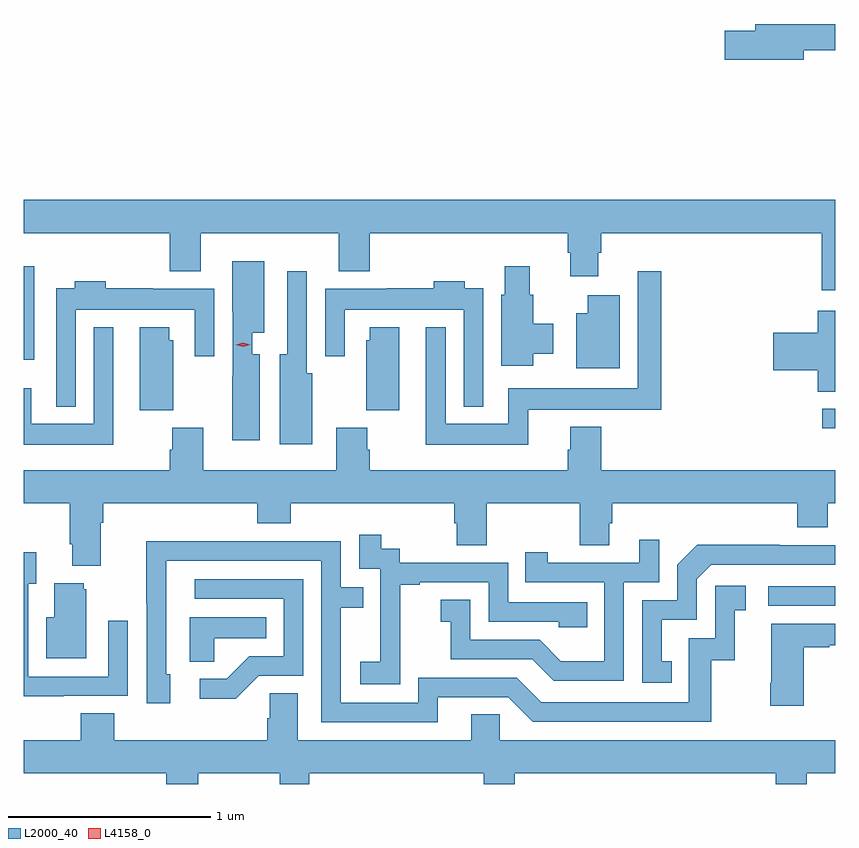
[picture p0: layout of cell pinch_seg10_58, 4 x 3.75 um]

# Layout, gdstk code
import gdstk
lib = gdstk.Library(unit=1e-6, precision=1e-09)
def R(c, l, rs):  # rectangles x0, y0, x1, y1
    for r in rs: c.add(gdstk.rectangle(r[:2], r[2:], *l))
def P(c, l, *ps):  # polygons
    for p in ps: c.add(gdstk.Polygon(p, *l))
L2000_40 = (2000, 40)
L4158_0 = (4158, 0)

pinch_seg10_58 = lib.new_cell('pinch_seg10_58')
R(pinch_seg10_58, L2000_40, [(843.093,1299.81,843.424,1299.906), (843.36,1300.685,843.424,1300.782), (839.424,1301.024,839.476,1301.485)])
P(pinch_seg10_58, L2000_40, [(843.268,1302.55),(843.424,1302.55),(843.424,1302.679),(843.029,1302.679),(843.029,1302.645),(842.88,1302.645),(842.88,1302.503),(843.268,1302.503)],
  [(843.424,1301.812),(839.424,1301.812),(839.424,1301.648),(840.143,1301.648),(840.143,1301.459),(840.295,1301.459),(840.295,1301.648),(840.977,1301.648),(840.977,1301.459),(841.13,1301.459),(841.13,1301.648),(842.105,1301.648),(842.105,1301.55),(842.117,1301.55),(842.117,1301.436),(842.257,1301.436),(842.257,1301.55),(842.27,1301.55),(842.27,1301.648),(843.359,1301.648),(843.359,1301.367),(843.424,1301.367)],
  [(840.586,1301.05),(840.55,1301.05),(840.55,1301.156),(840.61,1301.156),(840.61,1301.509),(840.452,1301.509),(840.452,1301.26),(840.453,1301.26),(840.453,1300.946),(840.452,1300.946),(840.452,1300.626),(840.586,1300.626)],
  [(841.936,1301.054),(842.035,1301.054),(842.035,1301.202),(841.936,1301.202),(841.936,1301.343),(841.918,1301.343),(841.918,1301.485),(841.796,1301.485),(841.796,1301.343),(841.778,1301.343),(841.778,1300.995),(841.936,1300.995)],
  [(841.91,1300.778),(842.444,1300.778),(842.444,1300.776),(842.567,1300.776),(842.567,1301.461),(842.451,1301.461),(842.451,1300.882),(841.812,1300.882),(841.812,1300.708),(841.503,1300.708),(841.503,1301.185),(841.406,1301.185),(841.406,1300.604),(841.91,1300.604)],
  [(840.847,1300.956),(840.819,1300.956),(840.819,1301.461),(840.723,1301.461),(840.723,1301.05),(840.686,1301.05),(840.686,1300.608),(840.847,1300.608)],
  [(841.689,1301.377),(841.597,1301.377),(841.597,1301.41),(841.445,1301.41),(841.445,1301.377),(841.213,1301.377),(841.213,1301.374),(840.909,1301.374),(840.909,1301.04),(841.005,1301.04),(841.005,1301.27),(841.593,1301.27),(841.593,1300.793),(841.689,1300.793)],
  [(839.679,1301.27),(840.267,1301.27),(840.267,1301.04),(840.363,1301.04),(840.363,1301.374),(840.059,1301.374),(840.059,1301.377),(839.828,1301.377),(839.828,1301.41),(839.675,1301.41),(839.675,1301.377),(839.583,1301.377),(839.583,1300.793),(839.679,1300.793)],
  [(842.362,1301.341),(842.204,1301.341),(842.204,1301.254),(842.147,1301.254),(842.147,1300.982),(842.362,1300.982)],
  [(843.424,1301.266),(843.338,1301.266),(843.338,1301.156),(843.12,1301.156),(843.12,1300.973),(843.338,1300.973),(843.338,1300.867),(843.424,1300.867)],
  [(839.866,1301.185),(839.769,1301.185),(839.769,1300.708),(839.46,1300.708),(839.46,1300.882),(839.424,1300.882),(839.424,1300.604),(839.866,1300.604)],
  [(840.16,1301.121),(840.142,1301.121),(840.142,1301.185),(839.996,1301.185),(839.996,1300.774),(840.16,1300.774)],
  [(841.276,1301.185),(841.13,1301.185),(841.13,1301.121),(841.112,1301.121),(841.112,1300.774),(841.276,1300.774)],
  [(839.803,1300.22),(839.816,1300.22),(839.816,1300.316),(840.575,1300.316),(840.575,1300.217),(840.74,1300.217),(840.74,1300.316),(841.547,1300.316),(841.547,1300.218),(841.559,1300.218),(841.559,1300.108),(841.707,1300.108),(841.707,1300.316),(842.164,1300.316),(842.164,1300.108),(842.311,1300.108),(842.311,1300.218),(842.324,1300.218),(842.324,1300.316),(843.236,1300.316),(843.236,1300.199),(843.388,1300.199),(843.388,1300.316),(843.424,1300.316),(843.424,1300.48),(842.27,1300.48),(842.27,1300.693),(842.117,1300.693),(842.117,1300.581),(842.105,1300.581),(842.105,1300.48),(841.13,1300.48),(841.13,1300.58),(841.117,1300.58),(841.117,1300.689),(840.965,1300.689),(840.965,1300.48),(840.308,1300.48),(840.308,1300.689),(840.155,1300.689),(840.155,1300.58),(840.143,1300.58),(840.143,1300.48),(839.424,1300.48),(839.424,1300.316),(839.651,1300.316),(839.651,1300.114),(839.663,1300.114),(839.663,1300.007),(839.803,1300.007)],
  [(841.281,1299.631),(841.28,1299.631),(841.28,1299.915),(841.375,1299.915),(841.375,1299.927),(841.716,1299.927),(841.716,1299.732),(842.061,1299.732),(842.061,1299.705),(842.201,1299.705),(842.201,1299.828),(841.812,1299.828),(841.812,1300.023),(841.278,1300.023),(841.278,1300.092),(841.186,1300.092),(841.186,1300.162),(841.077,1300.162),(841.077,1299.993),(841.182,1299.993),(841.182,1299.764),(841.181,1299.764),(841.181,1299.535),(841.083,1299.535),(841.083,1299.425),(841.281,1299.425)],
  [(842.382,1299.927),(842.556,1299.927),(842.556,1300.135),(842.459,1300.135),(842.459,1300.023),(842.008,1300.023),(842.008,1300.075),(841.897,1300.075),(841.897,1299.927),(842.286,1299.927),(842.286,1299.538),(842.072,1299.538),(841.968,1299.642),(841.626,1299.642),(841.626,1299.841),(841.479,1299.841),(841.479,1299.731),(841.528,1299.731),(841.528,1299.546),(841.931,1299.546),(842.036,1299.441),(842.382,1299.441)],
  [(841.465,1299.36),(841.812,1299.36),(841.932,1299.24),(842.812,1299.24),(842.812,1299.543),(842.93,1299.543),(842.93,1299.789),(842.983,1299.789),(842.983,1299.91),(842.832,1299.91),(842.832,1299.651),(842.703,1299.651),(842.703,1299.336),(841.974,1299.336),(841.854,1299.456),(841.368,1299.456),(841.368,1299.333),(840.987,1299.333),(840.987,1299.802),(841.097,1299.802),(841.097,1299.903),(840.987,1299.903),(840.987,1300.128),(840.491,1300.128),(840.491,1300.13),(840.028,1300.13),(840.028,1299.823),(840.03,1299.823),(840.03,1299.33),(840.145,1299.33),(840.145,1299.474),(840.126,1299.474),(840.126,1300.032),(840.891,1300.032),(840.891,1299.237),(841.465,1299.237)],
  [(842.618,1299.537),(842.569,1299.537),(842.569,1299.741),(842.742,1299.741),(842.742,1299.942),(842.814,1300.014),(843.424,1300.014),(843.424,1300.11),(843.152,1300.11),(843.152,1300.112),(842.744,1300.112),(842.646,1300.014),(842.646,1299.837),(842.472,1299.837),(842.472,1299.432),(842.618,1299.432)],
  [(839.621,1299.366),(839.937,1299.366),(839.937,1299.736),(839.841,1299.736),(839.841,1299.462),(839.445,1299.462),(839.445,1299.919),(839.485,1299.919),(839.485,1300.075),(839.424,1300.075),(839.424,1299.365),(839.621,1299.365)],
  [(840.582,1299.465),(840.801,1299.465),(840.801,1299.942),(840.267,1299.942),(840.267,1299.846),(840.705,1299.846),(840.705,1299.561),(840.536,1299.561),(840.425,1299.45),(840.291,1299.45),(840.291,1299.353),(840.469,1299.353)],
  [(839.731,1299.891),(839.72,1299.891),(839.72,1299.922),(839.573,1299.922),(839.573,1299.754),(839.534,1299.754),(839.534,1299.551),(839.731,1299.551)],
  [(840.363,1299.65),(840.62,1299.65),(840.62,1299.754),(840.242,1299.754),(840.242,1299.535),(840.363,1299.535)],
  [(843.268,1299.607),(843.395,1299.607),(843.395,1299.617),(843.424,1299.617),(843.424,1299.721),(843.11,1299.721),(843.11,1299.43),(843.103,1299.43),(843.103,1299.318),(843.268,1299.318)],
  [(840.285,1298.984),(840.685,1298.984),(840.685,1298.932),(840.831,1298.932),(840.831,1298.984),(841.691,1298.984),(841.691,1298.932),(841.844,1298.932),(841.844,1298.984),(843.131,1298.984),(843.131,1298.932),(843.283,1298.932),(843.283,1298.984),(843.424,1298.984),(843.424,1299.148),(841.77,1299.148),(841.77,1299.275),(841.631,1299.275),(841.631,1299.148),(840.775,1299.148),(840.775,1299.38),(840.636,1299.38),(840.636,1299.257),(840.623,1299.257),(840.623,1299.148),(839.87,1299.148),(839.87,1299.281),(839.705,1299.281),(839.705,1299.148),(839.424,1299.148),(839.424,1298.984),(840.125,1298.984),(840.125,1298.932),(840.285,1298.932)])
P(pinch_seg10_58, L4158_0, [(840.505,1301.088),(840.469,1301.098),(840.469,1301.098),(840.469,1301.098),(840.505,1301.108),(840.54,1301.098),(840.54,1301.098),(840.54,1301.098)])

lib.write_gds('pinch_seg10_58.gds')
